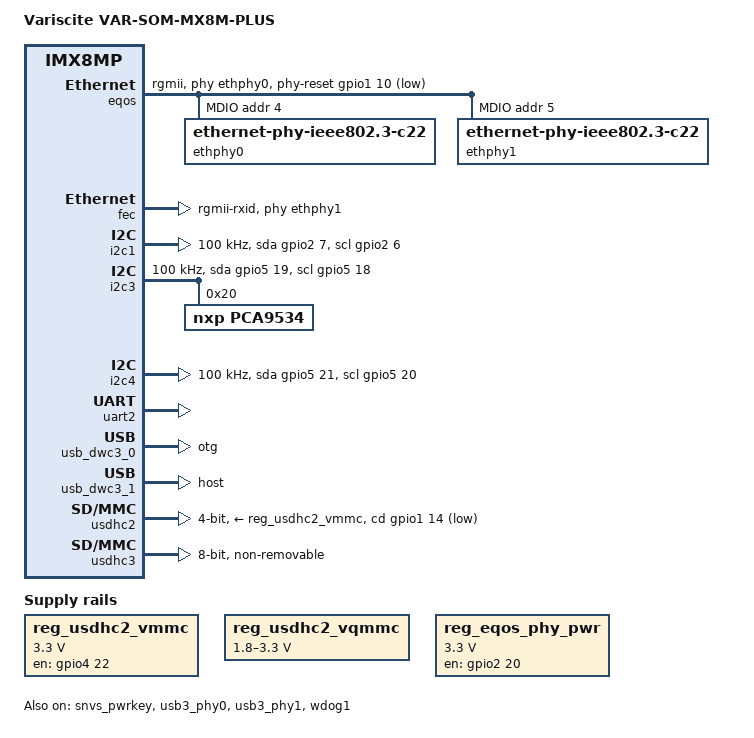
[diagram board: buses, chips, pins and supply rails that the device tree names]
// SPDX-License-Identifier: (GPL-2.0+ OR MIT)
/*
 * Copyright 2019 NXP
 * Copyright 2020 Variscite Ltd.
 */

/dts-v1/;

#include <dt-bindings/usb/pd.h>
#include "imx8mp.dtsi"

/ {
	model = "Variscite VAR-SOM-MX8M-PLUS";
	compatible = "variscite,imx8mp-var-som", "fsl,imx8mp";

	chosen {
		stdout-path = &uart2;
	};

	reg_usdhc2_vmmc: regulator-usdhc2-vmmc {
		compatible = "regulator-fixed";
		regulator-name = "VSD_3V3";
		regulator-min-microvolt = <3300000>;
		regulator-max-microvolt = <3300000>;
		gpio = <&gpio4 22 GPIO_ACTIVE_HIGH>;
		enable-active-high;
		startup-delay-us = <100>;
		off-on-delay-us = <12000>;
	};

	reg_usdhc2_vqmmc: regulator-usdhc2-vqmmc {
		compatible = "regulator-gpio";
		regulator-name = "VSD_VSEL";
		regulator-min-microvolt = <1800000>;
		regulator-max-microvolt = <3300000>;
		gpios = <&gpio2 12 GPIO_ACTIVE_HIGH>;
		states = <3300000 0
			  1800000 1>;
	};

	reg_eqos_phy_pwr: regulator-eqos-phy-pwr {
		compatible = "regulator-fixed";
		regulator-name = "eqos-phy-pwr";
		regulator-min-microvolt = <3300000>;
		regulator-max-microvolt = <3300000>;
		gpio = <&gpio2 20 GPIO_ACTIVE_HIGH>;
		enable-active-high;
		regulator-always-on;
	};
};

&eqos {
	pinctrl-names = "default";
	pinctrl-0 = <&pinctrl_eqos>;
	phy-mode = "rgmii";
	phy-handle = <&ethphy0>;
	phy-reset-gpios = <&gpio1 10 GPIO_ACTIVE_LOW>;
	phy-reset-duration = <10>;
	phy-reset-post-delay = <100>;
	status = "okay";

	mdio {
		compatible = "snps,dwmac-mdio";
		#address-cells = <1>;
		#size-cells = <0>;

		ethphy0: ethernet-phy@4 {
			compatible = "ethernet-phy-ieee802.3-c22";
			reg = <4>;
			at803x,eee-disabled;
			at803x,vddio-1p8v;
			eee-broken-1000t;
		};

		ethphy1: ethernet-phy@5 {
			compatible = "ethernet-phy-ieee802.3-c22";
			reg = <5>;
			at803x,eee-disabled;
			at803x,vddio-1p8v;
			eee-broken-1000t;
		};
	};
};

&fec {
	pinctrl-names = "default";
	pinctrl-0 = <&pinctrl_fec>;
	phy-mode = "rgmii-rxid";
	phy-handle = <&ethphy1>;
	status = "okay";
};

&i2c1 {
	clock-frequency = <100000>;
	pinctrl-names = "default", "gpio";
	pinctrl-0 = <&pinctrl_i2c1>;
	pinctrl-1 = <&pinctrl_i2c1_gpio>;
	scl-gpios = <&gpio2 6 GPIO_ACTIVE_HIGH>;
	sda-gpios = <&gpio2 7 GPIO_ACTIVE_HIGH>;
	status = "okay";
};

&i2c3 {
	clock-frequency = <100000>;
	pinctrl-names = "default", "gpio";
	pinctrl-0 = <&pinctrl_i2c3>;
	pinctrl-1 = <&pinctrl_i2c3_gpio>;
	scl-gpios = <&gpio5 18 GPIO_ACTIVE_HIGH>;
	sda-gpios = <&gpio5 19 GPIO_ACTIVE_HIGH>;
	status = "okay";

	/* GPIO expander */
	pca9534: gpio@20 {
		status = "okay";
		compatible = "nxp,pca9534";
		reg = <0x20>;
		gpio-controller;
		#gpio-cells = <2>;

		usb3_sel_hog {
			gpio-hog;
			gpios = <4 0>;
			output-low;
			line-name = "usb3_sel";
		};

		eth1_phy_rst_hog {
			gpio-hog;
			gpios = <5 0>;
			output-high;
			line-name = "eth1_phy_rst";
		};

		eth1_phy_vsel_hog {
			gpio-hog;
			gpios = <6 0>;
			output-high;
			line-name = "eth1_phy_vsel";
		};

		eth1_phy_pwr_hog {
			gpio-hog;
			gpios = <7 0>;
			output-high;
			line-name = "eth1_phy_pwr";
		};
	};
};

&i2c4 {
	clock-frequency = <100000>;
	pinctrl-names = "default", "gpio";
	pinctrl-0 = <&pinctrl_i2c4>;
	pinctrl-1 = <&pinctrl_i2c4_gpio>;
	scl-gpios = <&gpio5 20 GPIO_ACTIVE_HIGH>;
	sda-gpios = <&gpio5 21 GPIO_ACTIVE_HIGH>;
	status = "okay";
};

&snvs_pwrkey {
	status = "okay";
};

&uart2 {
	pinctrl-names = "default";
	pinctrl-0 = <&pinctrl_uart2>;
	status = "okay";
};

&usb3_phy0 {
	status = "okay";
};

&usb_dwc3_0 {
	dr_mode = "otg";
	hnp-disable;
	srp-disable;
	adp-disable;
	usb-role-switch;
	status = "okay";
};

&usb3_phy1 {
	status = "okay";
};

&usb_dwc3_1 {
	dr_mode = "host";
	status = "okay";
};

&usdhc2 {
	pinctrl-names = "default", "state_100mhz", "state_200mhz";
	pinctrl-0 = <&pinctrl_usdhc2>, <&pinctrl_usdhc2_gpio>;
	pinctrl-1 = <&pinctrl_usdhc2_100mhz>, <&pinctrl_usdhc2_gpio>;
	pinctrl-2 = <&pinctrl_usdhc2_200mhz>, <&pinctrl_usdhc2_gpio>;
	cd-gpios = <&gpio1 14 GPIO_ACTIVE_LOW>;
	vmmc-supply = <&reg_usdhc2_vmmc>;
	vqmmc-supply = <&reg_usdhc2_vqmmc>;
	bus-width = <4>;
	status = "okay";
};

&usdhc3 {
	pinctrl-names = "default", "state_100mhz", "state_200mhz";
	pinctrl-0 = <&pinctrl_usdhc3>;
	pinctrl-1 = <&pinctrl_usdhc3_100mhz>;
	pinctrl-2 = <&pinctrl_usdhc3_200mhz>;
	bus-width = <8>;
	non-removable;
	status = "okay";
};

&wdog1 {
	pinctrl-names = "default";
	pinctrl-0 = <&pinctrl_wdog>;
	fsl,ext-reset-output;
	status = "okay";
};

&iomuxc {
	pinctrl-names = "default";

	pinctrl_eqos: eqosgrp {
		fsl,pins = <
			MX8MP_IOMUXC_ENET_MDC__ENET_QOS_MDC				0x3
			MX8MP_IOMUXC_ENET_MDIO__ENET_QOS_MDIO				0x3
			MX8MP_IOMUXC_ENET_RD0__ENET_QOS_RGMII_RD0			0x91
			MX8MP_IOMUXC_ENET_RD1__ENET_QOS_RGMII_RD1			0x91
			MX8MP_IOMUXC_ENET_RD2__ENET_QOS_RGMII_RD2			0x91
			MX8MP_IOMUXC_ENET_RD3__ENET_QOS_RGMII_RD3			0x91
			MX8MP_IOMUXC_ENET_RXC__CCM_ENET_QOS_CLOCK_GENERATE_RX_CLK	0x91
			MX8MP_IOMUXC_ENET_RX_CTL__ENET_QOS_RGMII_RX_CTL			0x91
			MX8MP_IOMUXC_ENET_TD0__ENET_QOS_RGMII_TD0			0x1f
			MX8MP_IOMUXC_ENET_TD1__ENET_QOS_RGMII_TD1			0x1f
			MX8MP_IOMUXC_ENET_TD2__ENET_QOS_RGMII_TD2			0x1f
			MX8MP_IOMUXC_ENET_TD3__ENET_QOS_RGMII_TD3			0x1f
			MX8MP_IOMUXC_ENET_TX_CTL__ENET_QOS_RGMII_TX_CTL			0x1f
			MX8MP_IOMUXC_ENET_TXC__CCM_ENET_QOS_CLOCK_GENERATE_TX_CLK	0x1f
			MX8MP_IOMUXC_SD2_WP__GPIO2_IO20					0x19
			MX8MP_IOMUXC_GPIO1_IO10__GPIO1_IO10				0x19
		>;
	};

	pinctrl_fec: fecgrp {
		fsl,pins = <
			MX8MP_IOMUXC_SAI1_RXD4__ENET1_RGMII_RD0				0x91
			MX8MP_IOMUXC_SAI1_RXD5__ENET1_RGMII_RD1				0x91
			MX8MP_IOMUXC_SAI1_RXD6__ENET1_RGMII_RD2				0x91
			MX8MP_IOMUXC_SAI1_RXD7__ENET1_RGMII_RD3				0x91
			MX8MP_IOMUXC_SAI1_TXC__ENET1_RGMII_RXC				0x91
			MX8MP_IOMUXC_SAI1_TXFS__ENET1_RGMII_RX_CTL			0x91
			MX8MP_IOMUXC_SAI1_TXD0__ENET1_RGMII_TD0				0x1f
			MX8MP_IOMUXC_SAI1_TXD1__ENET1_RGMII_TD1				0x1f
			MX8MP_IOMUXC_SAI1_TXD2__ENET1_RGMII_TD2				0x1f
			MX8MP_IOMUXC_SAI1_TXD3__ENET1_RGMII_TD3				0x1f
			MX8MP_IOMUXC_SAI1_TXD4__ENET1_RGMII_TX_CTL			0x1f
			MX8MP_IOMUXC_SAI1_TXD5__ENET1_RGMII_TXC				0x1f
		>;
	};

	pinctrl_i2c1: i2c1grp {
		fsl,pins = <
			MX8MP_IOMUXC_SD1_DATA4__I2C1_SCL				0x400001c3
			MX8MP_IOMUXC_SD1_DATA5__I2C1_SDA				0x400001c3
		>;
	};

	pinctrl_i2c3: i2c3grp {
		fsl,pins = <
			MX8MP_IOMUXC_I2C3_SCL__I2C3_SCL					0x400001c3
			MX8MP_IOMUXC_I2C3_SDA__I2C3_SDA					0x400001c3
		>;
	};

	pinctrl_i2c4: i2c4grp {
		fsl,pins = <
			MX8MP_IOMUXC_I2C4_SCL__I2C4_SCL					0x400001c3
			MX8MP_IOMUXC_I2C4_SDA__I2C4_SDA					0x400001c3
		>;
	};

	pinctrl_i2c1_gpio: i2c1grp-gpio {
		fsl,pins = <
			MX8MP_IOMUXC_SD1_DATA4__GPIO2_IO06				0x1c3
			MX8MP_IOMUXC_SD1_DATA5__GPIO2_IO07				0x1c3
		>;
	};

	pinctrl_i2c3_gpio: i2c3grp-gpio {
		fsl,pins = <
			MX8MP_IOMUXC_I2C3_SCL__GPIO5_IO18				0x1c3
			MX8MP_IOMUXC_I2C3_SDA__GPIO5_IO19				0x1c3
		>;
	};

	pinctrl_i2c4_gpio: i2c4grp-gpio {
		fsl,pins = <
			MX8MP_IOMUXC_I2C4_SCL__GPIO5_IO20				0x1c3
			MX8MP_IOMUXC_I2C4_SDA__GPIO5_IO21				0x1c3
		>;
	};

	pinctrl_uart2: uart2grp {
		fsl,pins = <
			MX8MP_IOMUXC_UART2_RXD__UART2_DCE_RX				0x49
			MX8MP_IOMUXC_UART2_TXD__UART2_DCE_TX				0x49
		>;
	};

	pinctrl_usdhc2: usdhc2grp {
		fsl,pins = <
			MX8MP_IOMUXC_SD2_CLK__USDHC2_CLK				0x190
			MX8MP_IOMUXC_SD2_CMD__USDHC2_CMD				0x1d0
			MX8MP_IOMUXC_SD2_DATA0__USDHC2_DATA0				0x1d0
			MX8MP_IOMUXC_SD2_DATA1__USDHC2_DATA1				0x1d0
			MX8MP_IOMUXC_SD2_DATA2__USDHC2_DATA2				0x1d0
			MX8MP_IOMUXC_SD2_DATA3__USDHC2_DATA3				0x1d0
		>;
	};

	pinctrl_usdhc2_100mhz: usdhc2grp-100mhz {
		fsl,pins = <
			MX8MP_IOMUXC_SD2_CLK__USDHC2_CLK				0x194
			MX8MP_IOMUXC_SD2_CMD__USDHC2_CMD				0x1d4
			MX8MP_IOMUXC_SD2_DATA0__USDHC2_DATA0				0x1d4
			MX8MP_IOMUXC_SD2_DATA1__USDHC2_DATA1				0x1d4
			MX8MP_IOMUXC_SD2_DATA2__USDHC2_DATA2				0x1d4
			MX8MP_IOMUXC_SD2_DATA3__USDHC2_DATA3				0x1d4
		>;
	};

	pinctrl_usdhc2_200mhz: usdhc2grp-200mhz {
		fsl,pins = <
			MX8MP_IOMUXC_SD2_CLK__USDHC2_CLK				0x196
			MX8MP_IOMUXC_SD2_CMD__USDHC2_CMD				0x1d6
			MX8MP_IOMUXC_SD2_DATA0__USDHC2_DATA0				0x1d6
			MX8MP_IOMUXC_SD2_DATA1__USDHC2_DATA1				0x1d6
			MX8MP_IOMUXC_SD2_DATA2__USDHC2_DATA2				0x1d6
			MX8MP_IOMUXC_SD2_DATA3__USDHC2_DATA3				0x1d6
		>;
	};

	pinctrl_usdhc2_gpio: usdhc2grp-gpio {
		fsl,pins = <
			MX8MP_IOMUXC_GPIO1_IO14__GPIO1_IO14				0x1c4
			MX8MP_IOMUXC_SAI2_RXC__GPIO4_IO22				0x19
			MX8MP_IOMUXC_SD2_CD_B__GPIO2_IO12				0xc1
		>;
	};

	pinctrl_usdhc3: usdhc3grp {
		fsl,pins = <
			MX8MP_IOMUXC_NAND_WE_B__USDHC3_CLK				0x190
			MX8MP_IOMUXC_NAND_WP_B__USDHC3_CMD				0x1d0
			MX8MP_IOMUXC_NAND_DATA04__USDHC3_DATA0				0x1d0
			MX8MP_IOMUXC_NAND_DATA05__USDHC3_DATA1				0x1d0
			MX8MP_IOMUXC_NAND_DATA06__USDHC3_DATA2				0x1d0
			MX8MP_IOMUXC_NAND_DATA07__USDHC3_DATA3				0x1d0
			MX8MP_IOMUXC_NAND_RE_B__USDHC3_DATA4				0x1d0
			MX8MP_IOMUXC_NAND_CE2_B__USDHC3_DATA5				0x1d0
			MX8MP_IOMUXC_NAND_CE3_B__USDHC3_DATA6				0x1d0
			MX8MP_IOMUXC_NAND_CLE__USDHC3_DATA7				0x1d0
			MX8MP_IOMUXC_NAND_CE1_B__USDHC3_STROBE				0x190
		>;
	};

	pinctrl_usdhc3_100mhz: usdhc3grp-100mhz {
		fsl,pins = <
			MX8MP_IOMUXC_NAND_WE_B__USDHC3_CLK				0x194
			MX8MP_IOMUXC_NAND_WP_B__USDHC3_CMD				0x1d4
			MX8MP_IOMUXC_NAND_DATA04__USDHC3_DATA0				0x1d4
			MX8MP_IOMUXC_NAND_DATA05__USDHC3_DATA1				0x1d4
			MX8MP_IOMUXC_NAND_DATA06__USDHC3_DATA2				0x1d4
			MX8MP_IOMUXC_NAND_DATA07__USDHC3_DATA3				0x1d4
			MX8MP_IOMUXC_NAND_RE_B__USDHC3_DATA4				0x1d4
			MX8MP_IOMUXC_NAND_CE2_B__USDHC3_DATA5				0x1d4
			MX8MP_IOMUXC_NAND_CE3_B__USDHC3_DATA6				0x1d4
			MX8MP_IOMUXC_NAND_CLE__USDHC3_DATA7				0x1d4
			MX8MP_IOMUXC_NAND_CE1_B__USDHC3_STROBE				0x194
		>;
	};

	pinctrl_usdhc3_200mhz: usdhc3grp-200mhz {
		fsl,pins = <
			MX8MP_IOMUXC_NAND_WE_B__USDHC3_CLK				0x196
			MX8MP_IOMUXC_NAND_WP_B__USDHC3_CMD				0x1d6
			MX8MP_IOMUXC_NAND_DATA04__USDHC3_DATA0				0x1d6
			MX8MP_IOMUXC_NAND_DATA05__USDHC3_DATA1				0x1d6
			MX8MP_IOMUXC_NAND_DATA06__USDHC3_DATA2				0x1d6
			MX8MP_IOMUXC_NAND_DATA07__USDHC3_DATA3				0x1d6
			MX8MP_IOMUXC_NAND_RE_B__USDHC3_DATA4				0x1d6
			MX8MP_IOMUXC_NAND_CE2_B__USDHC3_DATA5				0x1d6
			MX8MP_IOMUXC_NAND_CE3_B__USDHC3_DATA6				0x1d6
			MX8MP_IOMUXC_NAND_CLE__USDHC3_DATA7				0x1d6
			MX8MP_IOMUXC_NAND_CE1_B__USDHC3_STROBE				0x196
		>;
	};

	pinctrl_wdog: wdoggrp {
		fsl,pins = <
			MX8MP_IOMUXC_GPIO1_IO02__WDOG1_WDOG_B				0xc6
		>;
	};
};
